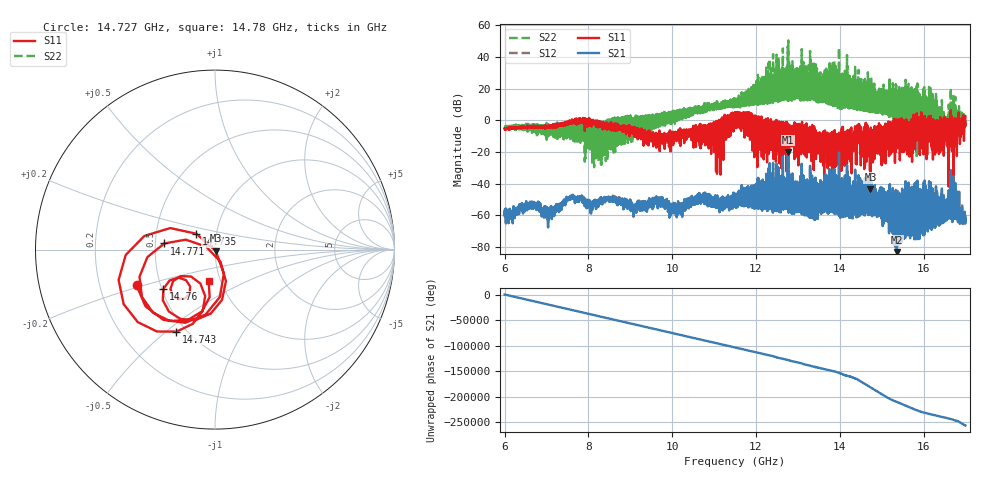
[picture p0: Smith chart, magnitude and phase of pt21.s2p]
#  HZ  S  RI  R  50.00
! Rohde & Schwarz Vector Network Analyzer
! Rohde-Schwarz,ZNA67-2Port,1332450062101215,3.01
! Created: UTC 10/15/2026, 2:45:23 PM
! freq[Hz]  re:S11  im:S11  re:S21  im:S21  re:S12  im:S12  re:S22  im:S22
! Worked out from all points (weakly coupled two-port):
!   11001 points, 6 GHz to 17 GHz, reference 50 ohm
!   highest |S21| = -20.00 dB at 12.772 GHz (marker M1); lowest = -83.2 dB at 15.365 GHz (marker M2)
!   lowest |S11| = -43.5 dB at 14.734 GHz (marker M3), VSWR 1.01, Z = 50.4 - j0.562 ohm
!   |S11| at or under -10 dB: 13.65204 GHz to 13.70163 GHz (49.59 MHz wide, 0.363 % of centre); 13.72005 GHz to 13.76951 GHz (49.46 MHz wide, 0.36 % of centre); 14.08078 GHz to 14.12748 GHz (46.7 MHz wide, 0.331 % of centre) (the widest 3 of 480)
!   |S22| runs from -29.6 to 50.5 dB; largest |S21 - S12| = 0.0046
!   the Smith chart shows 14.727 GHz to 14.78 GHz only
!   S11 on the Smith chart (normalised r, x): 14.727 GHz: 0.37, -0.19; 14.735 GHz: 0.80, +0.14; 14.743 GHz: 0.44, -0.54; 14.76 GHz: 0.51, -0.26; 14.771 GHz: 0.56, +0.04; 14.78 GHz: 0.88, -0.32
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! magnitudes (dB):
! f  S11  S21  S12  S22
! 6 GHz  -5.3  -59.6  -59.7  -4.2
! 6.65 GHz  -4.8  -53.0  -52.9  -3.0
! 7.072 GHz  -3.7  -55.2  -55.4  -5.1
! 7.834 GHz  -0.4  -49.9  -49.8  -12.5
! 9.109 GHz  -8.2  -55.4  -55.2  0.6
! 9.667 GHz  -10.6  -51.4  -51.7  -3.2
! 9.976 GHz  -9.6  -56.5  -56.2  4.7
! 11.5 GHz  4.8  -52.0  -52.2  9.3
! 12.772 GHz  -7.1  -20.0  -20.4  50.5
! 13.334 GHz  -6.5  -56.0  -55.6  16.6
! 14.727 GHz  -6.4  -57.9  -57.8  5.6
! 14.734 GHz  -43.5  -54.6  -54.6  12.2
! 14.735 GHz  -17.3  -53.8  -53.6  11.9
! 14.743 GHz  -5.9  -48.7  -48.3  14.8
! 14.76 GHz  -8.9  -58.8  -58.5  6.6
! 14.771 GHz  -10.9  -58.8  -58.9  7.6
! 14.78 GHz  -14.8  -58.4  -58.2  8.8
! 15.167 GHz  -9.3  -60.7  -60.3  7.2
! 15.365 GHz  -10.0  -83.2  -82.7  -0.3
! 16.244 GHz  0.0  -63.3  -63.4  -3.8
! 16.533 GHz  -8.5  -51.4  -51.7  -0.9
! 17 GHz  2.6  -62.0  -61.9  -2.1
